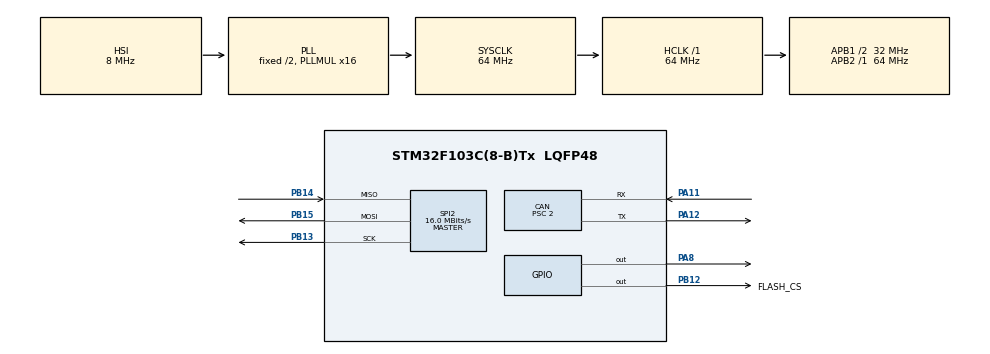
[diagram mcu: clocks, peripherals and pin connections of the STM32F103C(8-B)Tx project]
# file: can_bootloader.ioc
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CAN.BS1=CAN_BS1_13TQ
CAN.BS2=CAN_BS2_2TQ
CAN.CalculateBaudRate=1000000
CAN.CalculateTimeBit=1000
CAN.CalculateTimeQuantum=62.5
CAN.Prescaler=2
Mcu.Family=STM32F1
Mcu.Name=STM32F103C(8-B)Tx
Mcu.Package=LQFP48
NVIC.PriorityGroup=NVIC_PRIORITYGROUP_4
NVIC.USB_LP_CAN1_RX0_IRQn=true\:0\:0\:false\:false\:true\:true\:true\:true
PA11.Mode=CAN_Activate
PA11.Signal=CAN_RX
PA12.Mode=CAN_Activate
PA12.Signal=CAN_TX
PA13.Mode=Serial_Wire
PA13.Signal=SYS_JTMS-SWDIO
PA14.Mode=Serial_Wire
PA14.Signal=SYS_JTCK-SWCLK
PA8.Signal=GPIO_Output
PB12.GPIO_Label=FLASH_CS
PB12.PinState=GPIO_PIN_SET
PB12.Signal=GPIO_Output
PB13.Mode=Full_Duplex_Master
PB13.Signal=SPI2_SCK
PB14.Mode=Full_Duplex_Master
PB14.Signal=SPI2_MISO
PB15.Mode=Full_Duplex_Master
PB15.Signal=SPI2_MOSI
ProjectManager.HeapSize=0x200
ProjectManager.StackSize=0x400
ProjectManager.TargetToolchain=CMake
RCC.AHBFreq_Value=64000000
RCC.APB1CLKDivider=RCC_HCLK_DIV2
RCC.APB1Freq_Value=32000000
RCC.APB1TimFreq_Value=64000000
RCC.APB2Freq_Value=64000000
RCC.APB2TimFreq_Value=64000000
RCC.HCLKFreq_Value=64000000
RCC.PLLMUL=RCC_PLL_MUL16
RCC.SYSCLKFreq_VALUE=64000000
RCC.SYSCLKSource=RCC_SYSCLKSOURCE_PLLCLK
RCC.USBFreq_Value=64000000
SPI2.CalculateBaudRate=16.0 MBits/s
SPI2.Direction=SPI_DIRECTION_2LINES
SPI2.Mode=SPI_MODE_MASTER
SPI2.VirtualType=VM_MASTER
board=custom

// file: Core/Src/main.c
/* USER CODE BEGIN Header */
/**
  ******************************************************************************
  * @file           : main.c
  * @brief          : Main program body
  ******************************************************************************
  * @attention
  *
  * Copyright (c) 2024 STMicroelectronics.
  * All rights reserved.
  *
  * This software is licensed under terms that can be found in the LICENSE file
  * in the root directory of this software component.
  * If no LICENSE file comes with this software, it is provided AS-IS.
  *
  ******************************************************************************
  */
/* USER CODE END Header */
#include "main.h"
#include "can.h"
#include "spi.h"
#include "gpio.h"

/* USER CODE BEGIN Includes */
#include "w25qxx.h"
/* USER CODE END Includes */

/* USER CODE BEGIN PTD */
/* Start and end addresses of the user application. */
#define FLASH_APP_START_ADDRESS ((uint32_t)0x08002800u)
#define FLASH_APP_END_ADDRESS   ((uint32_t)FLASH_BANK1_END-0x10u) /**< Leave a little extra space at the end. */

/* Status report for the functions. */
typedef enum {
  F_OK              = 0x00u, /**< The action was successful. */
  F_ERROR_SIZE      = 0x01u, /**< The binary is too big. */
  F_ERROR_WRITE     = 0x02u, /**< Writing failed. */
  F_ERROR_READBACK  = 0x04u, /**< Writing was successful, but the content of the memory is wrong. */
  F_ERROR           = 0xFFu  /**< Generic error. */
} flash_status_t;

flash_status_t flash_erase(uint32_t address);
flash_status_t flash_write(uint32_t address, uint32_t *data, uint32_t length);
void flash_jump_to_app(void);
/* USER CODE END PTD */

/* USER CODE BEGIN PV */
CAN_RxHeaderTypeDef rx_hdr;
CAN_TxHeaderTypeDef tx_hdr;
uint32_t tx_mailbox;
uint8_t can_rx_data[8];
const uint8_t can_response[] = "ready\n";
volatile uint8_t can_flag = 0;

typedef void (*p_main_program) (void);
/* USER CODE END PV */

void SystemClock_Config(void);

/* USER CODE BEGIN 0 */
/**
 * @brief   This function erases the memory.
 * @param   address: First address to be erased (the last is the end of the flash).
 * @return  status: Report about the success of the erasing.
 */
flash_status_t flash_erase(uint32_t address) {
  flash_status_t status = F_ERROR;
  uint32_t error = 0u;

  HAL_FLASH_Unlock();
  FLASH_EraseInitTypeDef erase_init = {
    .TypeErase = FLASH_TYPEERASE_PAGES,
    .PageAddress = address,
    .Banks = FLASH_BANK_1,
    /* Calculate the number of pages from "address" and the end of flash. */
    .NbPages = (FLASH_BANK1_END - address) / FLASH_PAGE_SIZE
  };

  /* Do the actual erasing. */
  if (HAL_OK == HAL_FLASHEx_Erase(&erase_init, &error)) status = F_OK;
  HAL_FLASH_Lock();
  return status;
}

/**
 * @brief   This function flashes the memory.
 * @param   address: First address to be written to.
 * @param   *data:   Array of the data that we want to write.
 * @param   *length: Size of the array.
 * @return  status: Report about the success of the writing.
 */
flash_status_t flash_write(uint32_t address, uint32_t *data, uint32_t length) {
  flash_status_t status = F_OK;
  HAL_FLASH_Unlock();

  /* Loop through the array. */
  for (uint32_t i = 0u; (i < length) && (F_OK == status); i++) {
    /* If we reached the end of the memory, then report an error and don't do anything else.*/
    if (FLASH_APP_END_ADDRESS <= address) {
      status |= F_ERROR_SIZE;
    } else {
      /* The actual flashing. If there is an error, then report it. */
      if (HAL_OK != HAL_FLASH_Program(FLASH_TYPEPROGRAM_WORD, address, data[i])) {
        status |= F_ERROR_WRITE;
      }
      /* Read back the content of the memory. If it is wrong, then report an error. */
      // if (((data[i])) != (*(volatile uint32_t*)address)) {
      //   status |= F_ERROR_READBACK;
      // }
      /* Shift the address by a word. */
      address += 4u;
    }
  }
  HAL_FLASH_Lock();
  return status;
}

// void LoadStackAndGo(void* sp, void* entry) {
//   __asm (
//       "mov sp, r0 \n"
//       "mov pc, r1 \n"
//   );
// }

/* Function pointer to the address of the user application. */
volatile p_main_program p_jump_to_main_program;

/**
 * @brief   Actually jumps to the user application.
 * @param   void
 * @return  void
 */
void flash_jump_to_app(void) {
  // /* Function pointer to the address of the user application. */
  // p_main_program p_jump_to_main_program;

  __disable_irq();

  // HAL_DeInit();
  RCC->APB1RSTR = 0xFFFFFFFFU;
  RCC->APB1RSTR = 0x00;
  RCC->APB2RSTR = 0xFFFFFFFFU;
  RCC->APB2RSTR = 0x00;

  // SysTick DeInit
  SysTick->CTRL = 0;
  SysTick->VAL = 0;
  SysTick->LOAD = 0;

  // NVIC DeInit
  __set_BASEPRI(0);
  __set_CONTROL(0);
  // NVIC->ICER[0] = 0xFFFFFFFF;
  // NVIC->ICPR[0] = 0xFFFFFFFF;
  // NVIC->ICER[1] = 0xFFFFFFFF;
  // NVIC->ICPR[1] = 0xFFFFFFFF;
  // NVIC->ICER[2] = 0xFFFFFFFF;
  // NVIC->ICPR[2] = 0xFFFFFFFF;

	/* Clear Interrupt Enable Register & Interrupt Pending Register */
	for (uint8_t i = 0; i < sizeof(NVIC->ICER) / sizeof(NVIC->ICER[0]); i++) {
		NVIC->ICER[i] = 0xFFFFFFFF;
		NVIC->ICPR[i] = 0xFFFFFFFF;
	}

  /* Set the clock to the default state */
	HAL_RCC_DeInit();

  __enable_irq();

  /* Change the main and local stack pointer. */
  // __set_MSP(*(volatile uint32_t*) FLASH_APP_START_ADDRESS);
  // LoadStackAndGo((void *) FLASH_APP_START_ADDRESS, (void *) (FLASH_APP_START_ADDRESS + 4));
  // OLD: SCB->VTOR =* (volatile uint32_t*) FLASH_APP_START_ADDRESS;
  SCB->VTOR = FLASH_APP_START_ADDRESS;
  p_jump_to_main_program = (p_main_program)(*(volatile uint32_t*) (FLASH_APP_START_ADDRESS + 4u));
  // HAL_GPIO_TogglePin(GPIOA, GPIO_PIN_8);/////////////////
  p_jump_to_main_program();
}

static inline void can_init(void) {
	tx_hdr.DLC = sizeof(can_response);
	tx_hdr.ExtId = 0;
	tx_hdr.IDE = CAN_ID_STD;
	tx_hdr.RTR = CAN_RTR_DATA;

	/* CAN filter configuration */
	CAN_FilterTypeDef sFilterConfig;
	sFilterConfig.FilterBank = 0;
	sFilterConfig.FilterMode = CAN_FILTERMODE_IDMASK;
	sFilterConfig.FilterScale = CAN_FILTERSCALE_16BIT;
	sFilterConfig.FilterIdHigh = 0;
	sFilterConfig.FilterIdLow = 0;
	sFilterConfig.FilterMaskIdHigh = 0;
	sFilterConfig.FilterMaskIdLow = 0;
	sFilterConfig.FilterFIFOAssignment = CAN_FILTER_FIFO0;
	sFilterConfig.FilterActivation = ENABLE;
	sFilterConfig.SlaveStartFilterBank = 14; // 0 - 27
	if (HAL_CAN_ConfigFilter(&hcan, &sFilterConfig) != HAL_OK) {
	  Error_Handler();
	}
	HAL_CAN_Start(&hcan);
	HAL_CAN_ActivateNotification(&hcan, CAN_IT_RX_FIFO0_MSG_PENDING);
}

void HAL_CAN_RxFifo0MsgPendingCallback(CAN_HandleTypeDef *hcan) {
  if (HAL_CAN_GetRxMessage(hcan, CAN_RX_FIFO0, &rx_hdr, can_rx_data) == HAL_OK) {
    can_flag = 1;
  }
}
/* USER CODE END 0 */

int main(void)
{
  /* USER CODE BEGIN 1 */
  uint8_t w25q_rx_buf[4];
  volatile uint8_t boot_flag = 0;
  volatile uint32_t boot_size = 0;
  /* USER CODE END 1 */

  /* MCU Configuration--------------------------------------------------------*/

  /* Reset of all peripherals, Initializes the Flash interface and the Systick. */
  HAL_Init();

  /* Configure the system clock */
  SystemClock_Config();

  /* Initialize all configured peripherals */
  MX_GPIO_Init();
  MX_CAN_Init();
  MX_SPI2_Init();
  /* USER CODE BEGIN 2 */
  can_init();
  /** XXX:
   * !! на будущее: если не обнаружена W25Q на шине SPI, то искать эти данные следует во FLASH-памяти
   * */
  if (W25qxx_Init()) {
    W25qxx_ReadPage(w25q_rx_buf, 0, 0, sizeof(w25q_rx_buf));
    boot_flag = w25q_rx_buf[0];
    boot_size = w25q_rx_buf[1] | (w25q_rx_buf[2] << 8) | (w25q_rx_buf[3] << 16);
  }
  // HAL_Delay(1000);
  // HAL_GPIO_TogglePin(GPIOA, GPIO_PIN_8);/////////////////
  if (boot_flag == 1) {
    flash_erase(FLASH_APP_START_ADDRESS);
    W25qxx_EraseSector(0); // clear new boot info
  } else {
    // HAL_Delay(1000);
    flash_jump_to_app(); // next cycle woun't be reached
  }
  /* USER CODE END 2 */

  /* Infinite loop */
  /* USER CODE BEGIN WHILE */
  uint32_t current_address = FLASH_APP_START_ADDRESS;
  HAL_CAN_AddTxMessage(&hcan, &tx_hdr, (uint8_t *) &can_response[0], &tx_mailbox); // send ready message
  while (boot_size) {
    if (can_flag) {
      can_flag = 0;
      if (flash_write(current_address, (uint32_t *) &can_rx_data[0], rx_hdr.DLC / sizeof(uint32_t)) != F_OK) Error_Handler();
      current_address += rx_hdr.DLC;
      boot_size -= rx_hdr.DLC;
      HAL_GPIO_TogglePin(GPIOA, GPIO_PIN_8);
      HAL_CAN_AddTxMessage(&hcan, &tx_hdr, (uint8_t *) &can_response[0], &tx_mailbox);
    }
    /* USER CODE END WHILE */

    /* USER CODE BEGIN 3 */
  }
  NVIC_SystemReset();
  /* USER CODE END 3 */
}

void SystemClock_Config(void)
{
  RCC_OscInitTypeDef RCC_OscInitStruct = {0};
  RCC_ClkInitTypeDef RCC_ClkInitStruct = {0};

  /** Initializes the RCC Oscillators according to the specified parameters
  * in the RCC_OscInitTypeDef structure.
  */
  RCC_OscInitStruct.OscillatorType = RCC_OSCILLATORTYPE_HSI;
  RCC_OscInitStruct.HSIState = RCC_HSI_ON;
  RCC_OscInitStruct.HSICalibrationValue = RCC_HSICALIBRATION_DEFAULT;
  RCC_OscInitStruct.PLL.PLLState = RCC_PLL_ON;
  RCC_OscInitStruct.PLL.PLLSource = RCC_PLLSOURCE_HSI_DIV2;
  RCC_OscInitStruct.PLL.PLLMUL = RCC_PLL_MUL16;
  if (HAL_RCC_OscConfig(&RCC_OscInitStruct) != HAL_OK)
  {
    Error_Handler();
  }

  /** Initializes the CPU, AHB and APB buses clocks
  */
  RCC_ClkInitStruct.ClockType = RCC_CLOCKTYPE_HCLK|RCC_CLOCKTYPE_SYSCLK
                              |RCC_CLOCKTYPE_PCLK1|RCC_CLOCKTYPE_PCLK2;
  RCC_ClkInitStruct.SYSCLKSource = RCC_SYSCLKSOURCE_PLLCLK;
  RCC_ClkInitStruct.AHBCLKDivider = RCC_SYSCLK_DIV1;
  RCC_ClkInitStruct.APB1CLKDivider = RCC_HCLK_DIV2;
  RCC_ClkInitStruct.APB2CLKDivider = RCC_HCLK_DIV1;

  if (HAL_RCC_ClockConfig(&RCC_ClkInitStruct, FLASH_LATENCY_2) != HAL_OK)
  {
    Error_Handler();
  }
}

void Error_Handler(void)
{
  /* USER CODE BEGIN Error_Handler_Debug */
  /* User can add his own implementation to report the HAL error return state */
  __disable_irq();
  while (1) {
    HAL_Delay(250);
    HAL_GPIO_TogglePin(GPIOA, GPIO_PIN_8);
    HAL_Delay(250);
  }
  /* USER CODE END Error_Handler_Debug */
}
